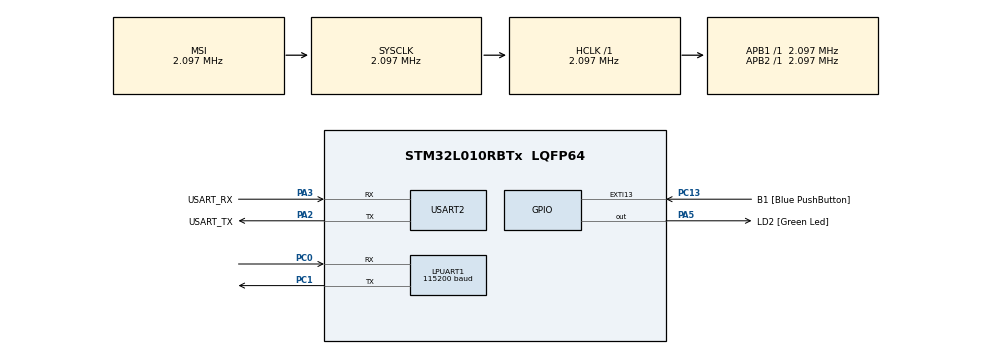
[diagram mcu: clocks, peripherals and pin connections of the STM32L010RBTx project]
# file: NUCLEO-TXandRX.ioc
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LPUART1.BaudRate=115200
LPUART1.WordLength=UART_WORDLENGTH_8B
Mcu.Family=STM32L0
Mcu.Name=STM32L010RBTx
Mcu.Package=LQFP64
NVIC.LPUART1_IRQn=true\:0\:0\:false\:false\:true\:true\:true\:true
NVIC.USART2_IRQn=true\:0\:0\:false\:false\:true\:true\:true\:true
PA13.GPIO_Label=TMS
PA13.Mode=Serial_Wire
PA13.Signal=SYS_SWDIO
PA14.GPIO_Label=TCK
PA14.Mode=Serial_Wire
PA14.Signal=SYS_SWCLK
PA2.GPIO_Label=USART_TX
PA2.Mode=Asynchronous
PA2.Signal=USART2_TX
PA3.GPIO_Label=USART_RX
PA3.Mode=Asynchronous
PA3.Signal=USART2_RX
PA5.GPIO_Label=LD2 [Green Led]
PA5.Signal=GPIO_Output
PC0.Mode=Asynchronous
PC0.Signal=LPUART1_RX
PC1.Mode=Asynchronous
PC1.Signal=LPUART1_TX
PC13.GPIO_Label=B1 [Blue PushButton]
PC13.GPIO_ModeDefaultEXTI=GPIO_MODE_IT_FALLING
PC13.Signal=GPXTI13
PC14-OSC32_IN.Mode=LSE-External-Oscillator
PC14-OSC32_IN.Signal=RCC_OSC32_IN
PC15-OSC32_OUT.Mode=LSE-External-Oscillator
PC15-OSC32_OUT.Signal=RCC_OSC32_OUT
PH0-OSC_IN.GPIO_Label=MCO
PH0-OSC_IN.Mode=HSE-External-Clock-Source
PH0-OSC_IN.Signal=RCC_OSC_IN
ProjectManager.HeapSize=0x200
ProjectManager.StackSize=0x400
ProjectManager.TargetToolchain=STM32CubeIDE
RCC.AHBFreq_Value=2097000
RCC.APB1Freq_Value=2097000
RCC.APB1TimFreq_Value=2097000
RCC.APB2Freq_Value=2097000
RCC.APB2TimFreq_Value=2097000
RCC.HSE_VALUE=8000000
RCC.HSI16_VALUE=16000000
RCC.HSI48_VALUE=48000000
RCC.HSI_VALUE=16000000
RCC.MSI_VALUE=2097000
RCC.SYSCLKFreq_VALUE=2097000
RCC.VCOOutputFreq_Value=48000000
USART2.VirtualMode-Asynchronous=VM_ASYNC
board=NUCLEO-L010RB

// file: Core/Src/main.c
/* USER CODE BEGIN Header */
/**
  ******************************************************************************
  * @file           : main.c
  * @brief          : Main program body
  ******************************************************************************
  * @attention
  *
  * Copyright (c) 2026 STMicroelectronics.
  * All rights reserved.
  *
  * This software is licensed under terms that can be found in the LICENSE file
  * in the root directory of this software component.
  * If no LICENSE file comes with this software, it is provided AS-IS.
  *
  ******************************************************************************
  */
/* USER CODE END Header */
#include "main.h"

/* USER CODE BEGIN Includes */
#include <stdio.h>
/* USER CODE END Includes */

UART_HandleTypeDef hlpuart1;
UART_HandleTypeDef huart2;

/* USER CODE BEGIN PV */
uint8_t rx_buf[100];
uint8_t rx_done = 0;
uint16_t rx_size = 0;

/* USER CODE END PV */

void SystemClock_Config(void);
static void MX_GPIO_Init(void);
static void MX_USART2_UART_Init(void);
static void MX_LPUART1_UART_Init(void);

/* USER CODE BEGIN 0 */
int __io_putchar(int ch) {
    HAL_UART_Transmit(&hlpuart1,
                      (uint8_t*)&ch,
                      1, HAL_MAX_DELAY);
    return ch;
}

/* USER CODE END 0 */

int main(void)
{

  /* MCU Configuration--------------------------------------------------------*/

  /* Reset of all peripherals, Initializes the Flash interface and the Systick. */
  HAL_Init();

  /* Configure the system clock */
  SystemClock_Config();

  /* Initialize all configured peripherals */
  MX_GPIO_Init();
  MX_USART2_UART_Init();
  MX_LPUART1_UART_Init();

  /* USER CODE BEGIN 2 */
  printf("\r\nNUCLEO L010RB Ready!\r\n");

  // Interrupt receive start karo
  HAL_UARTEx_ReceiveToIdle_IT(
      &huart2,
      rx_buf,
      sizeof(rx_buf));
  /* USER CODE END 2 */

  /* Infinite loop */
  while (1)
  {

  }
}

void SystemClock_Config(void)
{
  RCC_OscInitTypeDef RCC_OscInitStruct = {0};
  RCC_ClkInitTypeDef RCC_ClkInitStruct = {0};
  RCC_PeriphCLKInitTypeDef PeriphClkInit = {0};

  /** Configure the main internal regulator output voltage
  */
  __HAL_PWR_VOLTAGESCALING_CONFIG(PWR_REGULATOR_VOLTAGE_SCALE1);

  /** Initializes the RCC Oscillators according to the specified parameters
  * in the RCC_OscInitTypeDef structure.
  */
  RCC_OscInitStruct.OscillatorType = RCC_OSCILLATORTYPE_MSI;
  RCC_OscInitStruct.MSIState = RCC_MSI_ON;
  RCC_OscInitStruct.MSICalibrationValue = 0;
  RCC_OscInitStruct.MSIClockRange = RCC_MSIRANGE_5;
  RCC_OscInitStruct.PLL.PLLState = RCC_PLL_NONE;
  if (HAL_RCC_OscConfig(&RCC_OscInitStruct) != HAL_OK)
  {
    Error_Handler();
  }

  /** Initializes the CPU, AHB and APB buses clocks
  */
  RCC_ClkInitStruct.ClockType = RCC_CLOCKTYPE_HCLK|RCC_CLOCKTYPE_SYSCLK
                              |RCC_CLOCKTYPE_PCLK1|RCC_CLOCKTYPE_PCLK2;
  RCC_ClkInitStruct.SYSCLKSource = RCC_SYSCLKSOURCE_MSI;
  RCC_ClkInitStruct.AHBCLKDivider = RCC_SYSCLK_DIV1;
  RCC_ClkInitStruct.APB1CLKDivider = RCC_HCLK_DIV1;
  RCC_ClkInitStruct.APB2CLKDivider = RCC_HCLK_DIV1;

  if (HAL_RCC_ClockConfig(&RCC_ClkInitStruct, FLASH_LATENCY_0) != HAL_OK)
  {
    Error_Handler();
  }
  PeriphClkInit.PeriphClockSelection = RCC_PERIPHCLK_USART2|RCC_PERIPHCLK_LPUART1;
  PeriphClkInit.Usart2ClockSelection = RCC_USART2CLKSOURCE_PCLK1;
  PeriphClkInit.Lpuart1ClockSelection = RCC_LPUART1CLKSOURCE_PCLK1;
  if (HAL_RCCEx_PeriphCLKConfig(&PeriphClkInit) != HAL_OK)
  {
    Error_Handler();
  }
}

static void MX_LPUART1_UART_Init(void)
{

  hlpuart1.Instance = LPUART1;
  hlpuart1.Init.BaudRate = 115200;
  hlpuart1.Init.WordLength = UART_WORDLENGTH_8B;
  hlpuart1.Init.StopBits = UART_STOPBITS_1;
  hlpuart1.Init.Parity = UART_PARITY_NONE;
  hlpuart1.Init.Mode = UART_MODE_TX_RX;
  hlpuart1.Init.HwFlowCtl = UART_HWCONTROL_NONE;
  hlpuart1.Init.OneBitSampling = UART_ONE_BIT_SAMPLE_DISABLE;
  hlpuart1.AdvancedInit.AdvFeatureInit = UART_ADVFEATURE_NO_INIT;
  if (HAL_UART_Init(&hlpuart1) != HAL_OK)
  {
    Error_Handler();
  }

}

static void MX_USART2_UART_Init(void)
{

  huart2.Instance = USART2;
  huart2.Init.BaudRate = 115200;
  huart2.Init.WordLength = UART_WORDLENGTH_8B;
  huart2.Init.StopBits = UART_STOPBITS_1;
  huart2.Init.Parity = UART_PARITY_NONE;
  huart2.Init.Mode = UART_MODE_TX_RX;
  huart2.Init.HwFlowCtl = UART_HWCONTROL_NONE;
  huart2.Init.OverSampling = UART_OVERSAMPLING_16;
  huart2.Init.OneBitSampling = UART_ONE_BIT_SAMPLE_DISABLE;
  huart2.AdvancedInit.AdvFeatureInit = UART_ADVFEATURE_NO_INIT;
  if (HAL_UART_Init(&huart2) != HAL_OK)
  {
    Error_Handler();
  }

}

static void MX_GPIO_Init(void)
{
  GPIO_InitTypeDef GPIO_InitStruct = {0};

  /* GPIO Ports Clock Enable */
  __HAL_RCC_GPIOC_CLK_ENABLE();
  __HAL_RCC_GPIOH_CLK_ENABLE();
  __HAL_RCC_GPIOA_CLK_ENABLE();

  /*Configure GPIO pin Output Level */
  HAL_GPIO_WritePin(LD2_GPIO_Port, LD2_Pin, GPIO_PIN_RESET);

  /*Configure GPIO pin : B1_Pin */
  GPIO_InitStruct.Pin = B1_Pin;
  GPIO_InitStruct.Mode = GPIO_MODE_IT_FALLING;
  GPIO_InitStruct.Pull = GPIO_NOPULL;
  HAL_GPIO_Init(B1_GPIO_Port, &GPIO_InitStruct);

  /*Configure GPIO pin : LD2_Pin */
  GPIO_InitStruct.Pin = LD2_Pin;
  GPIO_InitStruct.Mode = GPIO_MODE_OUTPUT_PP;
  GPIO_InitStruct.Pull = GPIO_NOPULL;
  GPIO_InitStruct.Speed = GPIO_SPEED_FREQ_LOW;
  HAL_GPIO_Init(LD2_GPIO_Port, &GPIO_InitStruct);

}

/* USER CODE BEGIN 4 */

void HAL_UARTEx_RxEventCallback(
         UART_HandleTypeDef *huart,
         uint16_t Size) {

    if (huart->Instance == USART2) {
        rx_size = Size;
        rx_done = 1;

        // Echo back
#if 1
        HAL_UART_Transmit_IT(&huart2,rx_buf,Size);
#endif
        printf("\r\nReceived %d bytes: %.*s\r\n",
               Size, Size, rx_buf);

        // Restart
        HAL_UARTEx_ReceiveToIdle_IT(
            &huart2,
            rx_buf,
            sizeof(rx_buf));
    }
}
/* USER CODE END 4 */

void Error_Handler(void)
{
  __disable_irq();
  while (1)
  {
  }
}
